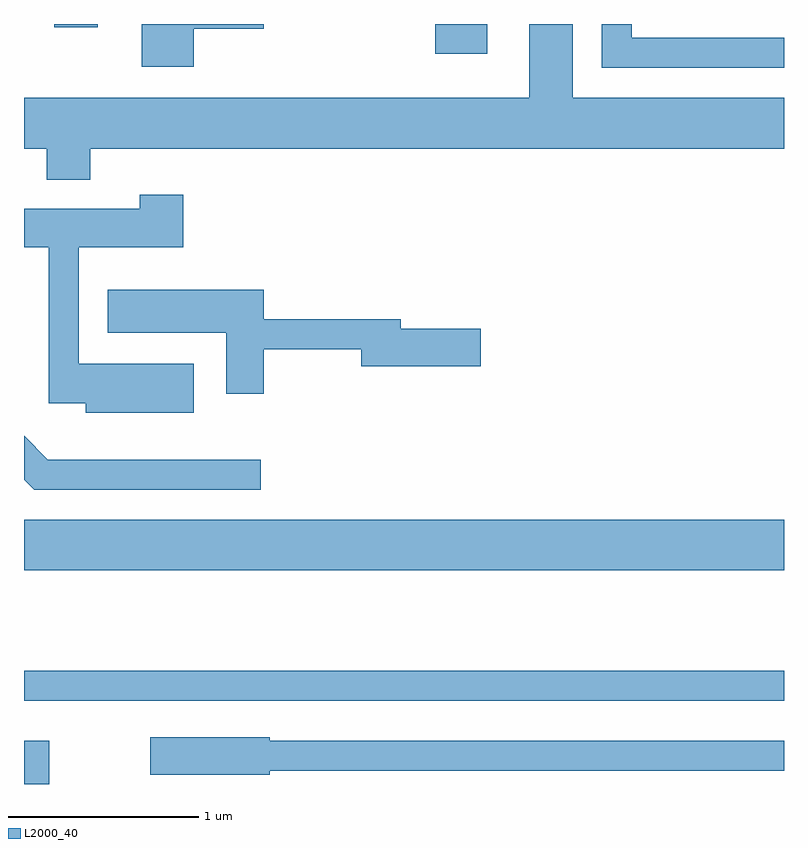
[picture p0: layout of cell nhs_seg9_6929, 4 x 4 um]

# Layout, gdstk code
import gdstk
lib = gdstk.Library(unit=1e-6, precision=1e-09)
def R(c, l, rs):  # rectangles x0, y0, x1, y1
    for r in rs: c.add(gdstk.rectangle(r[:2], r[2:], *l))
def P(c, l, *ps):  # polygons
    for p in ps: c.add(gdstk.Polygon(p, *l))
L2000_40 = (2000, 40)

nhs_seg9_6929 = lib.new_cell('nhs_seg9_6929')
R(nhs_seg9_6929, L2000_40, [(389.611,2028.432,389.744,2028.659), (389.611,2028.871,393.611,2029.029), (389.611,2029.556,393.611,2029.824), (391.776,2032.276,392.048,2032.432), (389.771,2032.416,389.999,2032.432)])
P(nhs_seg9_6929, L2000_40, [(389.959,2031.776),(393.611,2031.776),(393.611,2032.044),(392.499,2032.044),(392.499,2032.432),(392.271,2032.432),(392.271,2032.044),(389.611,2032.044),(389.611,2031.776),(389.731,2031.776),(389.731,2031.611),(389.959,2031.611)],
  [(390.504,2032.406),(390.874,2032.406),(390.874,2032.432),(390.231,2032.432),(390.231,2032.206),(390.504,2032.206)],
  [(393.611,2032.359),(392.809,2032.359),(392.809,2032.432),(392.651,2032.432),(392.651,2032.201),(393.611,2032.201)],
  [(390.504,2030.644),(389.899,2030.644),(389.899,2031.256),(390.449,2031.256),(390.449,2031.534),(390.221,2031.534),(390.221,2031.459),(389.611,2031.459),(389.611,2031.256),(389.741,2031.256),(389.741,2030.436),(389.936,2030.436),(389.936,2030.386),(390.504,2030.386)],
  [(390.874,2030.721),(391.386,2030.721),(391.386,2030.631),(392.014,2030.631),(392.014,2030.829),(391.594,2030.829),(391.594,2030.879),(390.874,2030.879),(390.874,2031.034),(390.051,2031.034),(390.051,2030.806),(390.676,2030.806),(390.676,2030.486),(390.874,2030.486)],
  [(390.858,2030.139),(389.737,2030.139),(389.611,2030.265),(389.611,2030.034),(389.664,2029.981),(390.858,2029.981)],
  [(390.904,2028.501),(393.611,2028.501),(393.611,2028.659),(390.904,2028.659),(390.904,2028.679),(390.276,2028.679),(390.276,2028.481),(390.904,2028.481)])

lib.write_gds('nhs_seg9_6929.gds')
